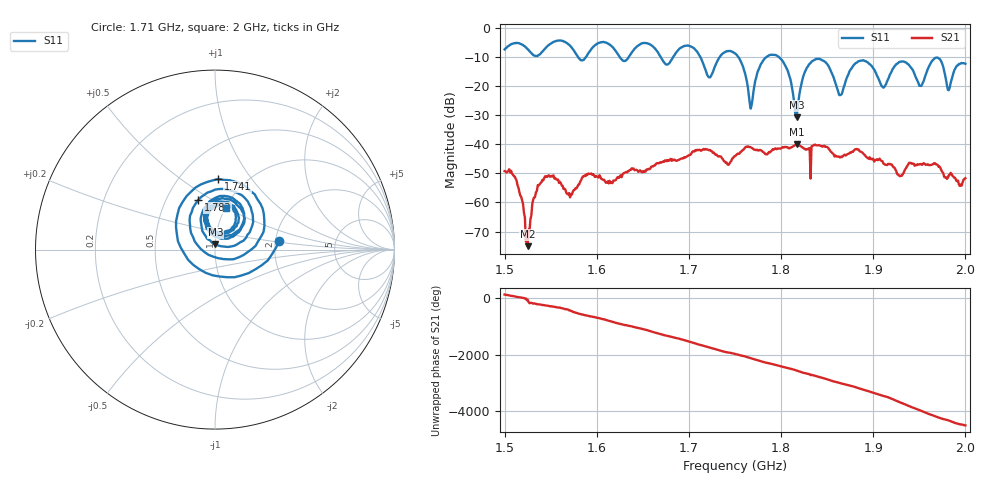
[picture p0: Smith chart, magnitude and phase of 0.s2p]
! NanoVNA-App by SYSJOINT et al v1.1.209 (+OD18)
! Date: 2026-01-21 14:26:25
! Start: 1,5GHz Stop: 2GHz Points: 501
! S-Parameter data: F S11 S21 S12 S22
# Hz S RI R 50
!  Frequency  S11_Real  S11_Imag  S21_Real  S21_Imag  S12_Real  S12_Imag  S22_Real  S22_Imag
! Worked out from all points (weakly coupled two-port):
!   501 points, 1.5 GHz to 2 GHz, reference 50 ohm
!   highest |S21| = -40.02 dB at 1.817 GHz (marker M1); lowest = -75.0 dB at 1.525 GHz (marker M2)
!   lowest |S11| = -30.8 dB at 1.817 GHz (marker M3), VSWR 1.06, Z = 50.2 + j2.9 ohm
!   |S11| at or under -10 dB: 1.712 GHz to 1.734 GHz (21.53 MHz wide, 1.25 % of centre); 1.753 GHz to 1.785 GHz (31.4 MHz wide, 1.78 % of centre); 1.797 GHz to end of sweep (the widest 3 of 6)
!   S12 and S22 are empty: the file has one direction only
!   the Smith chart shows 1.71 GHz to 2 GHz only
!   S11 on the Smith chart (normalised r, x): 1.71 GHz: 2.10, +0.23; 1.741 GHz: 0.76, +0.70; 1.782 GHz: 0.72, +0.43; 2 GHz: 1.01, +0.49
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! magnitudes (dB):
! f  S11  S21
! 1.5 GHz  -7.5  -49.2
! 1.513 GHz  -5.3  -52.5
! 1.525 GHz  -7.4  -75.0
! 1.543 GHz  -7.5  -51.6
! 1.584 GHz  -11.3  -51.5
! 1.667 GHz  -8.9  -46.6
! 1.71 GHz  -8.8  -42.1
! 1.722 GHz  -17.1  -42.1
! 1.741 GHz  -8.1  -46.3
! 1.75 GHz  -8.9  -44.0
! 1.767 GHz  -27.8  -41.0
! 1.782 GHz  -10.7  -43.0
! 1.803 GHz  -12.2  -41.1
! 1.817 GHz  -30.8  -40.0
! 1.834 GHz  -11.5  -40.5
! 1.864 GHz  -23.2  -44.6
! 1.885 GHz  -11.5  -42.3
! 1.917 GHz  -17.1  -46.8
! 1.952 GHz  -20.1  -46.9
! 1.969 GHz  -10.3  -47.0
! 1.982 GHz  -21.5  -50.6
! 2 GHz  -12.4  -51.7
